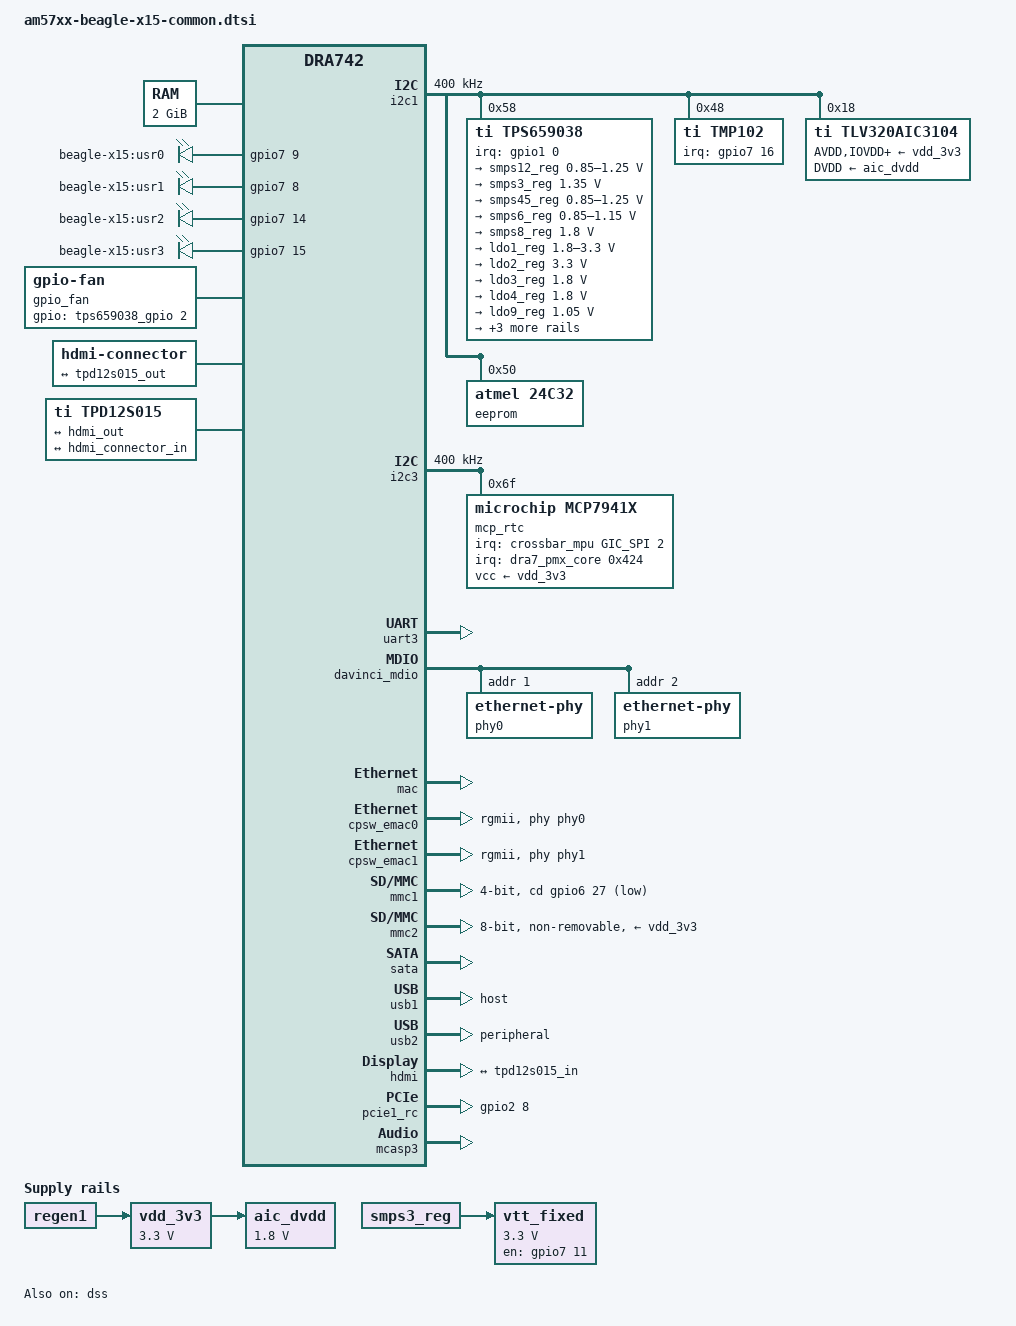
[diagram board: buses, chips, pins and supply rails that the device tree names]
/*
 * Copyright (C) 2014-2016 Texas Instruments Incorporated - http://www.ti.com/
 *
 * This program is free software; you can redistribute it and/or modify
 * it under the terms of the GNU General Public License version 2 as
 * published by the Free Software Foundation.
 */
/dts-v1/;

#include "dra74x.dtsi"
#include "am57xx-commercial-grade.dtsi"
#include "dra74x-mmc-iodelay.dtsi"
#include <dt-bindings/gpio/gpio.h>
#include <dt-bindings/interrupt-controller/irq.h>

/ {
	compatible = "ti,am572x-beagle-x15", "ti,am5728", "ti,dra742", "ti,dra74", "ti,dra7";

	aliases {
		rtc0 = &mcp_rtc;
		rtc1 = &tps659038_rtc;
		rtc2 = &rtc;
		display0 = &hdmi0;
	};

	chosen {
		stdout-path = &uart3;
	};

	memory@0 {
		device_type = "memory";
		reg = <0x0 0x80000000 0x0 0x80000000>;
	};

	vdd_3v3: fixedregulator-vdd_3v3 {
		compatible = "regulator-fixed";
		regulator-name = "vdd_3v3";
		vin-supply = <&regen1>;
		regulator-min-microvolt = <3300000>;
		regulator-max-microvolt = <3300000>;
	};

	aic_dvdd: fixedregulator-aic_dvdd {
		compatible = "regulator-fixed";
		regulator-name = "aic_dvdd_fixed";
		vin-supply = <&vdd_3v3>;
		regulator-min-microvolt = <1800000>;
		regulator-max-microvolt = <1800000>;
	};

	vtt_fixed: fixedregulator-vtt {
		/* TPS51200 */
		compatible = "regulator-fixed";
		regulator-name = "vtt_fixed";
		vin-supply = <&smps3_reg>;
		regulator-min-microvolt = <3300000>;
		regulator-max-microvolt = <3300000>;
		regulator-always-on;
		regulator-boot-on;
		enable-active-high;
		gpio = <&gpio7 11 GPIO_ACTIVE_HIGH>;
	};

	leds {
		compatible = "gpio-leds";

		led0 {
			label = "beagle-x15:usr0";
			gpios = <&gpio7 9 GPIO_ACTIVE_HIGH>;
			linux,default-trigger = "heartbeat";
			default-state = "off";
		};

		led1 {
			label = "beagle-x15:usr1";
			gpios = <&gpio7 8 GPIO_ACTIVE_HIGH>;
			linux,default-trigger = "cpu0";
			default-state = "off";
		};

		led2 {
			label = "beagle-x15:usr2";
			gpios = <&gpio7 14 GPIO_ACTIVE_HIGH>;
			linux,default-trigger = "mmc0";
			default-state = "off";
		};

		led3 {
			label = "beagle-x15:usr3";
			gpios = <&gpio7 15 GPIO_ACTIVE_HIGH>;
			linux,default-trigger = "disk-activity";
			default-state = "off";
		};
	};

	gpio_fan: gpio_fan {
		/* Based on 5v 500mA AFB02505HHB */
		compatible = "gpio-fan";
		gpios =  <&tps659038_gpio 2 GPIO_ACTIVE_HIGH>;
		gpio-fan,speed-map = <0     0>,
				     <13000 1>;
		#cooling-cells = <2>;
	};

	hdmi0: connector {
		compatible = "hdmi-connector";
		label = "hdmi";

		type = "a";

		port {
			hdmi_connector_in: endpoint {
				remote-endpoint = <&tpd12s015_out>;
			};
		};
	};

	tpd12s015: encoder {
		compatible = "ti,tpd12s015";

		ports {
			#address-cells = <1>;
			#size-cells = <0>;

			port@0 {
				reg = <0>;

				tpd12s015_in: endpoint {
					remote-endpoint = <&hdmi_out>;
				};
			};

			port@1 {
				reg = <1>;

				tpd12s015_out: endpoint {
					remote-endpoint = <&hdmi_connector_in>;
				};
			};
		};
	};

	sound0: sound0 {
		compatible = "simple-audio-card";
		simple-audio-card,name = "BeagleBoard-X15";
		simple-audio-card,widgets =
			"Line", "Line Out",
			"Line", "Line In";
		simple-audio-card,routing =
			"Line Out",	"LLOUT",
			"Line Out",	"RLOUT",
			"MIC2L",	"Line In",
			"MIC2R",	"Line In";
		simple-audio-card,format = "dsp_b";
		simple-audio-card,bitclock-master = <&sound0_master>;
		simple-audio-card,frame-master = <&sound0_master>;
		simple-audio-card,bitclock-inversion;

		simple-audio-card,cpu {
			sound-dai = <&mcasp3>;
		};

		sound0_master: simple-audio-card,codec {
			sound-dai = <&tlv320aic3104>;
			clocks = <&clkout2_clk>;
		};
	};
};

&i2c1 {
	status = "okay";
	clock-frequency = <400000>;

	tps659038: tps659038@58 {
		compatible = "ti,tps659038";
		reg = <0x58>;
		interrupt-parent = <&gpio1>;
		interrupts = <0 IRQ_TYPE_LEVEL_LOW>;

		#interrupt-cells = <2>;
		interrupt-controller;

		ti,system-power-controller;
		ti,palmas-override-powerhold;

		tps659038_pmic {
			compatible = "ti,tps659038-pmic";

			regulators {
				smps12_reg: smps12 {
					/* VDD_MPU */
					regulator-name = "smps12";
					regulator-min-microvolt = < 850000>;
					regulator-max-microvolt = <1250000>;
					regulator-always-on;
					regulator-boot-on;
				};

				smps3_reg: smps3 {
					/* VDD_DDR */
					regulator-name = "smps3";
					regulator-min-microvolt = <1350000>;
					regulator-max-microvolt = <1350000>;
					regulator-always-on;
					regulator-boot-on;
				};

				smps45_reg: smps45 {
					/* VDD_DSPEVE, VDD_IVA, VDD_GPU */
					regulator-name = "smps45";
					regulator-min-microvolt = < 850000>;
					regulator-max-microvolt = <1250000>;
					regulator-always-on;
					regulator-boot-on;
				};

				smps6_reg: smps6 {
					/* VDD_CORE */
					regulator-name = "smps6";
					regulator-min-microvolt = <850000>;
					regulator-max-microvolt = <1150000>;
					regulator-always-on;
					regulator-boot-on;
				};

				/* SMPS7 unused */

				smps8_reg: smps8 {
					/* VDD_1V8 */
					regulator-name = "smps8";
					regulator-min-microvolt = <1800000>;
					regulator-max-microvolt = <1800000>;
					regulator-always-on;
					regulator-boot-on;
				};

				/* SMPS9 unused */

				ldo1_reg: ldo1 {
					/* VDD_SD / VDDSHV8  */
					regulator-name = "ldo1";
					regulator-min-microvolt = <1800000>;
					regulator-max-microvolt = <3300000>;
					regulator-boot-on;
					regulator-always-on;
				};

				ldo2_reg: ldo2 {
					/* VDD_SHV5 */
					regulator-name = "ldo2";
					regulator-min-microvolt = <3300000>;
					regulator-max-microvolt = <3300000>;
					regulator-always-on;
					regulator-boot-on;
				};

				ldo3_reg: ldo3 {
					/* VDDA_1V8_PHYA */
					regulator-name = "ldo3";
					regulator-min-microvolt = <1800000>;
					regulator-max-microvolt = <1800000>;
					regulator-always-on;
					regulator-boot-on;
				};

				ldo4_reg: ldo4 {
					/* VDDA_1V8_PHYB */
					regulator-name = "ldo4";
					regulator-min-microvolt = <1800000>;
					regulator-max-microvolt = <1800000>;
					regulator-always-on;
					regulator-boot-on;
				};

				ldo9_reg: ldo9 {
					/* VDD_RTC */
					regulator-name = "ldo9";
					regulator-min-microvolt = <1050000>;
					regulator-max-microvolt = <1050000>;
					regulator-always-on;
					regulator-boot-on;
				};

				ldoln_reg: ldoln {
					/* VDDA_1V8_PLL */
					regulator-name = "ldoln";
					regulator-min-microvolt = <1800000>;
					regulator-max-microvolt = <1800000>;
					regulator-always-on;
					regulator-boot-on;
				};

				ldousb_reg: ldousb {
					/* VDDA_3V_USB: VDDA_USBHS33 */
					regulator-name = "ldousb";
					regulator-min-microvolt = <3300000>;
					regulator-max-microvolt = <3300000>;
					regulator-boot-on;
				};

				regen1: regen1 {
					/* VDD_3V3_ON */
					regulator-name = "regen1";
					regulator-boot-on;
					regulator-always-on;
				};
			};
		};

		tps659038_rtc: tps659038_rtc {
			compatible = "ti,palmas-rtc";
			interrupt-parent = <&tps659038>;
			interrupts = <8 IRQ_TYPE_EDGE_FALLING>;
			wakeup-source;
		};

		tps659038_pwr_button: tps659038_pwr_button {
			compatible = "ti,palmas-pwrbutton";
			interrupt-parent = <&tps659038>;
			interrupts = <1 IRQ_TYPE_EDGE_FALLING>;
			wakeup-source;
			ti,palmas-long-press-seconds = <12>;
		};

		tps659038_gpio: tps659038_gpio {
			compatible = "ti,palmas-gpio";
			gpio-controller;
			#gpio-cells = <2>;
		};

		extcon_usb2: tps659038_usb {
			compatible = "ti,palmas-usb-vid";
			ti,enable-vbus-detection;
			vbus-gpio = <&gpio4 21 GPIO_ACTIVE_HIGH>;
		};

	};

	tmp102: tmp102@48 {
		compatible = "ti,tmp102";
		reg = <0x48>;
		interrupt-parent = <&gpio7>;
		interrupts = <16 IRQ_TYPE_LEVEL_LOW>;
		#thermal-sensor-cells = <1>;
	};

	tlv320aic3104: tlv320aic3104@18 {
		#sound-dai-cells = <0>;
		compatible = "ti,tlv320aic3104";
		reg = <0x18>;
		assigned-clocks = <&clkoutmux2_clk_mux>;
		assigned-clock-parents = <&sys_clk2_dclk_div>;

		status = "okay";
		adc-settle-ms = <40>;

		AVDD-supply = <&vdd_3v3>;
		IOVDD-supply = <&vdd_3v3>;
		DRVDD-supply = <&vdd_3v3>;
		DVDD-supply = <&aic_dvdd>;
	};

	eeprom: eeprom@50 {
		compatible = "atmel,24c32";
		reg = <0x50>;
	};
};

&i2c3 {
	status = "okay";
	clock-frequency = <400000>;

	mcp_rtc: rtc@6f {
		compatible = "microchip,mcp7941x";
		reg = <0x6f>;
		interrupts-extended = <&crossbar_mpu GIC_SPI 2 IRQ_TYPE_EDGE_RISING>,
				      <&dra7_pmx_core 0x424>;
		interrupt-names = "irq", "wakeup";

		vcc-supply = <&vdd_3v3>;
		wakeup-source;
	};
};

&gpio7 {
	ti,no-reset-on-init;
	ti,no-idle-on-init;
};

&cpu0 {
	vdd-supply = <&smps12_reg>;
	voltage-tolerance = <1>;
};

&uart3 {
	status = "okay";
	interrupts-extended = <&crossbar_mpu GIC_SPI 69 IRQ_TYPE_LEVEL_HIGH>,
			      <&dra7_pmx_core 0x3f8>;
};

&davinci_mdio {
	phy0: ethernet-phy@1 {
		reg = <1>;
	};

	phy1: ethernet-phy@2 {
		reg = <2>;
	};
};

&mac {
	status = "okay";
	dual_emac;
};

&cpsw_emac0 {
	phy-handle = <&phy0>;
	phy-mode = "rgmii";
	dual_emac_res_vlan = <1>;
};

&cpsw_emac1 {
	phy-handle = <&phy1>;
	phy-mode = "rgmii";
	dual_emac_res_vlan = <2>;
};

&mmc1 {
	status = "okay";

	pinctrl-names = "default";
	pinctrl-0 = <&mmc1_pins_default>;

	bus-width = <4>;
	cd-gpios = <&gpio6 27 GPIO_ACTIVE_LOW>; /* gpio 219 */
	no-1-8-v;
};

&mmc2 {
	status = "okay";

	pinctrl-names = "default";
	pinctrl-0 = <&mmc2_pins_default>;

	vmmc-supply = <&vdd_3v3>;
	vqmmc-supply = <&vdd_3v3>;
	bus-width = <8>;
	non-removable;
	no-1-8-v;
};

&sata {
	status = "okay";
};

&usb2_phy1 {
	phy-supply = <&ldousb_reg>;
};

&usb2_phy2 {
	phy-supply = <&ldousb_reg>;
};

&usb1 {
	dr_mode = "host";
};

&omap_dwc3_2 {
	extcon = <&extcon_usb2>;
};

&usb2 {
	/*
	 * Stand alone usage is peripheral only.
	 * However, with some resistor modifications
	 * this port can be used via expansion connectors
	 * as "host" or "dual-role". If so, provide
	 * the necessary dr_mode override in the expansion
	 * board's DT.
	 */
	dr_mode = "peripheral";
};

&cpu_trips {
	cpu_alert1: cpu_alert1 {
		temperature = <50000>; /* millicelsius */
		hysteresis = <2000>; /* millicelsius */
		type = "active";
	};
};

&cpu_cooling_maps {
	map1 {
		trip = <&cpu_alert1>;
		cooling-device = <&gpio_fan THERMAL_NO_LIMIT THERMAL_NO_LIMIT>;
	};
};

&thermal_zones {
	board_thermal: board_thermal {
		polling-delay-passive = <1250>; /* milliseconds */
		polling-delay = <1500>; /* milliseconds */

				/* sensor       ID */
		thermal-sensors = <&tmp102     0>;

		board_trips: trips {
			board_alert0: board_alert {
				temperature = <40000>; /* millicelsius */
				hysteresis = <2000>; /* millicelsius */
				type = "active";
			};

			board_crit: board_crit {
				temperature = <105000>; /* millicelsius */
				hysteresis = <0>; /* millicelsius */
				type = "critical";
			};
		};

		board_cooling_maps: cooling-maps {
			map0 {
				trip = <&board_alert0>;
				cooling-device =
				  <&gpio_fan THERMAL_NO_LIMIT THERMAL_NO_LIMIT>;
			};
		};
       };
};

&dss {
	status = "ok";

	vdda_video-supply = <&ldoln_reg>;
};

&hdmi {
	status = "ok";
	vdda-supply = <&ldo4_reg>;

	port {
		hdmi_out: endpoint {
			remote-endpoint = <&tpd12s015_in>;
		};
	};
};

&pcie1_rc {
	status = "ok";
	gpios = <&gpio2 8 GPIO_ACTIVE_LOW>;
};

&pcie1_ep {
	gpios = <&gpio2 8 GPIO_ACTIVE_LOW>;
};

&mcasp3 {
	#sound-dai-cells = <0>;
	assigned-clocks = <&l4per_clkctrl DRA7_MCASP3_CLKCTRL 24>;
	assigned-clock-parents = <&sys_clkin2>;
	status = "okay";

	op-mode = <0>;	/* MCASP_IIS_MODE */
	tdm-slots = <2>;
	/* 4 serializers */
	serial-dir = <	/* 0: INACTIVE, 1: TX, 2: RX */
		1 2 0 0
	>;
	tx-num-evt = <32>;
	rx-num-evt = <32>;
};

&mailbox5 {
	status = "okay";
	mbox_ipu1_ipc3x: mbox_ipu1_ipc3x {
		status = "okay";
	};
	mbox_dsp1_ipc3x: mbox_dsp1_ipc3x {
		status = "okay";
	};
};

&mailbox6 {
	status = "okay";
	mbox_ipu2_ipc3x: mbox_ipu2_ipc3x {
		status = "okay";
	};
	mbox_dsp2_ipc3x: mbox_dsp2_ipc3x {
		status = "okay";
	};
};
